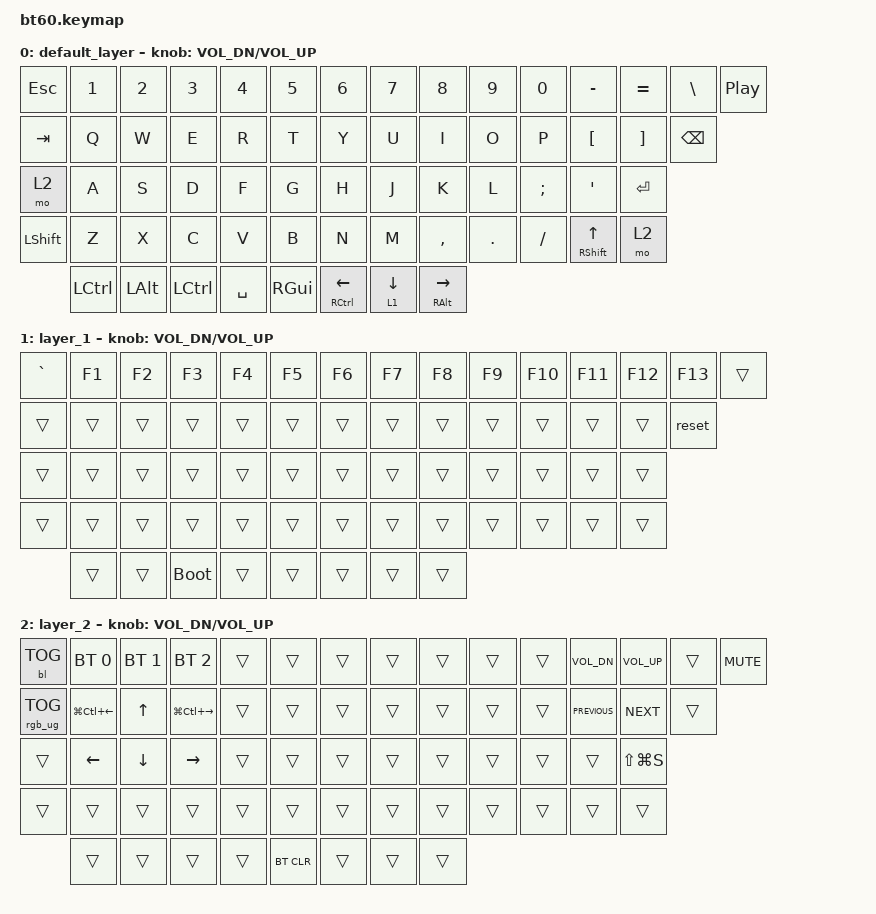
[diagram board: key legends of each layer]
#include <behaviors.dtsi>
#include <dt-bindings/zmk/keys.h>
#include <dt-bindings/zmk/backlight.h>
#include <dt-bindings/zmk/bt.h>
#include <dt-bindings/zmk/rgb.h>

/ {
    keymap {
        compatible = "zmk,keymap";

        default_layer {
            // ------------------------------------------------------------------------------------------
            // | ESC |  1  |  2  |  3  |  4  |  5  |  6  |  7  |  8  |  9  |  0  | - | = | BKSP | PLAY  |
            // | TAB  |  Q  |  W  |  E  |  R  |  T  |  Y  |  U  |  I  |  O  |  P  |  [  |  ]  |    \    |
            // |  2  |  A  |  S  |  D  |  F  |  G  |  H  |  J  |  K  |  L  |  ;  |  '  |      ENTER     |
            // |  SHIFT    |  Z  |  X  |  C  |  V  |  B  |  N  |  M  |  ,  |  .  | /   |   SHIFT  |  2  |
            // |  CTL  |  WIN  |  ALT  |              SPACE                |  WIN  |  CTRL  |  1  | ALT |
            // ------------------------------------------------------------------------------------------

            bindings = <
  &kp ESC     &kp N1        &kp N2     &kp N3     &kp N4    &kp N5                &kp N6            &kp N7                &kp N8   &kp N9    &kp N0           &kp MINUS  &kp EQUAL       &kp BSLH  &kp C_PLAY_PAUSE
  &kp TAB      &kp Q         &kp W      &kp E      &kp R     &kp T                 &kp Y             &kp U                 &kp I    &kp O     &kp P            &kp LBKT   &kp RBKT  &kp BACKSPACE
    &mo 2      &kp A         &kp S      &kp D      &kp F     &kp G                 &kp H             &kp J                 &kp K    &kp L  &kp SEMI             &kp SQT    &kp RET
&kp LSHFT      &kp Z         &kp X      &kp C      &kp V     &kp B                 &kp N             &kp M             &kp COMMA  &kp DOT  &kp FSLH  &mt RIGHT_SHIFT UP      &mo 2
           &kp LCTRL  &kp LEFT_ALT  &kp LCTRL  &kp SPACE  &kp RGUI  &mt RCTRL LEFT_ARROW  &lt 1 DOWN_ARROW  &mt RALT RIGHT_ARROW
            >;

            sensor-bindings = <&inc_dec_kp C_VOL_DN C_VOL_UP>;
        };

        layer_1 {
            bindings = <
&kp GRAVE  &kp F1  &kp F2       &kp F3  &kp F4  &kp F5  &kp F6  &kp F7  &kp F8  &kp F9  &kp F10  &kp F11  &kp F12  &kp F13  &trans
   &trans  &trans  &trans       &trans  &trans  &trans  &trans  &trans  &trans  &trans   &trans   &trans   &trans   &reset
   &trans  &trans  &trans       &trans  &trans  &trans  &trans  &trans  &trans  &trans   &trans   &trans   &trans
   &trans  &trans  &trans       &trans  &trans  &trans  &trans  &trans  &trans  &trans   &trans   &trans   &trans
           &trans  &trans  &bootloader  &trans  &trans  &trans  &trans  &trans
            >;

            sensor-bindings = <&inc_dec_kp C_VOL_DN C_VOL_UP>;
        };

        layer_2 {
            bindings = <
     &bl BL_TOG            &bt BT_SEL 0    &bt BT_SEL 1             &bt BT_SEL 2  &trans      &trans  &trans  &trans  &trans  &trans  &trans    &kp C_VOL_DN   &kp C_VOL_UP  &trans  &kp C_MUTE
&rgb_ug RGB_TOG  &kp LG(LC(LEFT_ARROW))    &kp UP_ARROW  &kp LG(LC(RIGHT_ARROW))  &trans      &trans  &trans  &trans  &trans  &trans  &trans  &kp C_PREVIOUS     &kp C_NEXT  &trans
         &trans          &kp LEFT_ARROW  &kp DOWN_ARROW          &kp RIGHT_ARROW  &trans      &trans  &trans  &trans  &trans  &trans  &trans          &trans  &kp LS(LG(S))
         &trans                  &trans          &trans                   &trans  &trans      &trans  &trans  &trans  &trans  &trans  &trans          &trans         &trans
                                 &trans          &trans                   &trans  &trans  &bt BT_CLR  &trans  &trans  &trans
            >;

            sensor-bindings = <&inc_dec_kp C_VOL_DN C_VOL_UP>;
        };
    };
};
